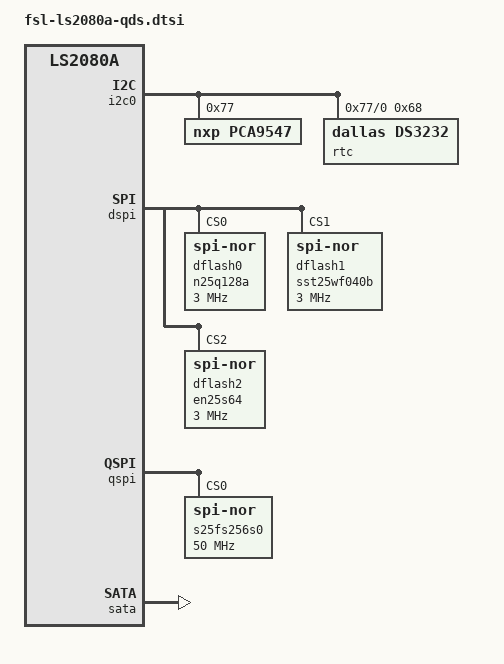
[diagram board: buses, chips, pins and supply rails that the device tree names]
// SPDX-License-Identifier: GPL-2.0+ OR X11
/*
 * Freescale ls2080a QDS common device tree source
 *
 * Copyright 2013-2015 Freescale Semiconductor, Inc.
 * Copyright 2020 NXP
 */

#include "fsl-ls2080a.dtsi"

&i2c0 {
	status = "okay";
	pca9547@77 {
		compatible = "nxp,pca9547";
		reg = <0x77>;
		#address-cells = <1>;
		#size-cells = <0>;
		i2c@0 {
			#address-cells = <1>;
			#size-cells = <0>;
			reg = <0x00>;
			rtc@68 {
				compatible = "dallas,ds3232";
				reg = <0x68>;
			};
		};
	};
};

&dspi {
	bus-num = <0>;
	status = "okay";

	dflash0: n25q128a {
		#address-cells = <1>;
		#size-cells = <1>;
		compatible = "jedec,spi-nor";
		spi-max-frequency = <3000000>;
		spi-cpol;
		spi-cpha;
		reg = <0>;
	};
	dflash1: sst25wf040b {
		#address-cells = <1>;
		#size-cells = <1>;
		compatible = "jedec,spi-nor";
		spi-max-frequency = <3000000>;
		spi-cpol;
		spi-cpha;
		reg = <1>;
	};
	dflash2: en25s64 {
		#address-cells = <1>;
		#size-cells = <1>;
		compatible = "jedec,spi-nor";
		spi-max-frequency = <3000000>;
		spi-cpol;
		spi-cpha;
		reg = <2>;
	};
};

&qspi {
	status = "okay";

	s25fs256s0: flash@0 {
		#address-cells = <1>;
		#size-cells = <1>;
		compatible = "jedec,spi-nor";
		spi-max-frequency = <50000000>;
		reg = <0>;
	};
};

&sata {
	status = "okay";
};
